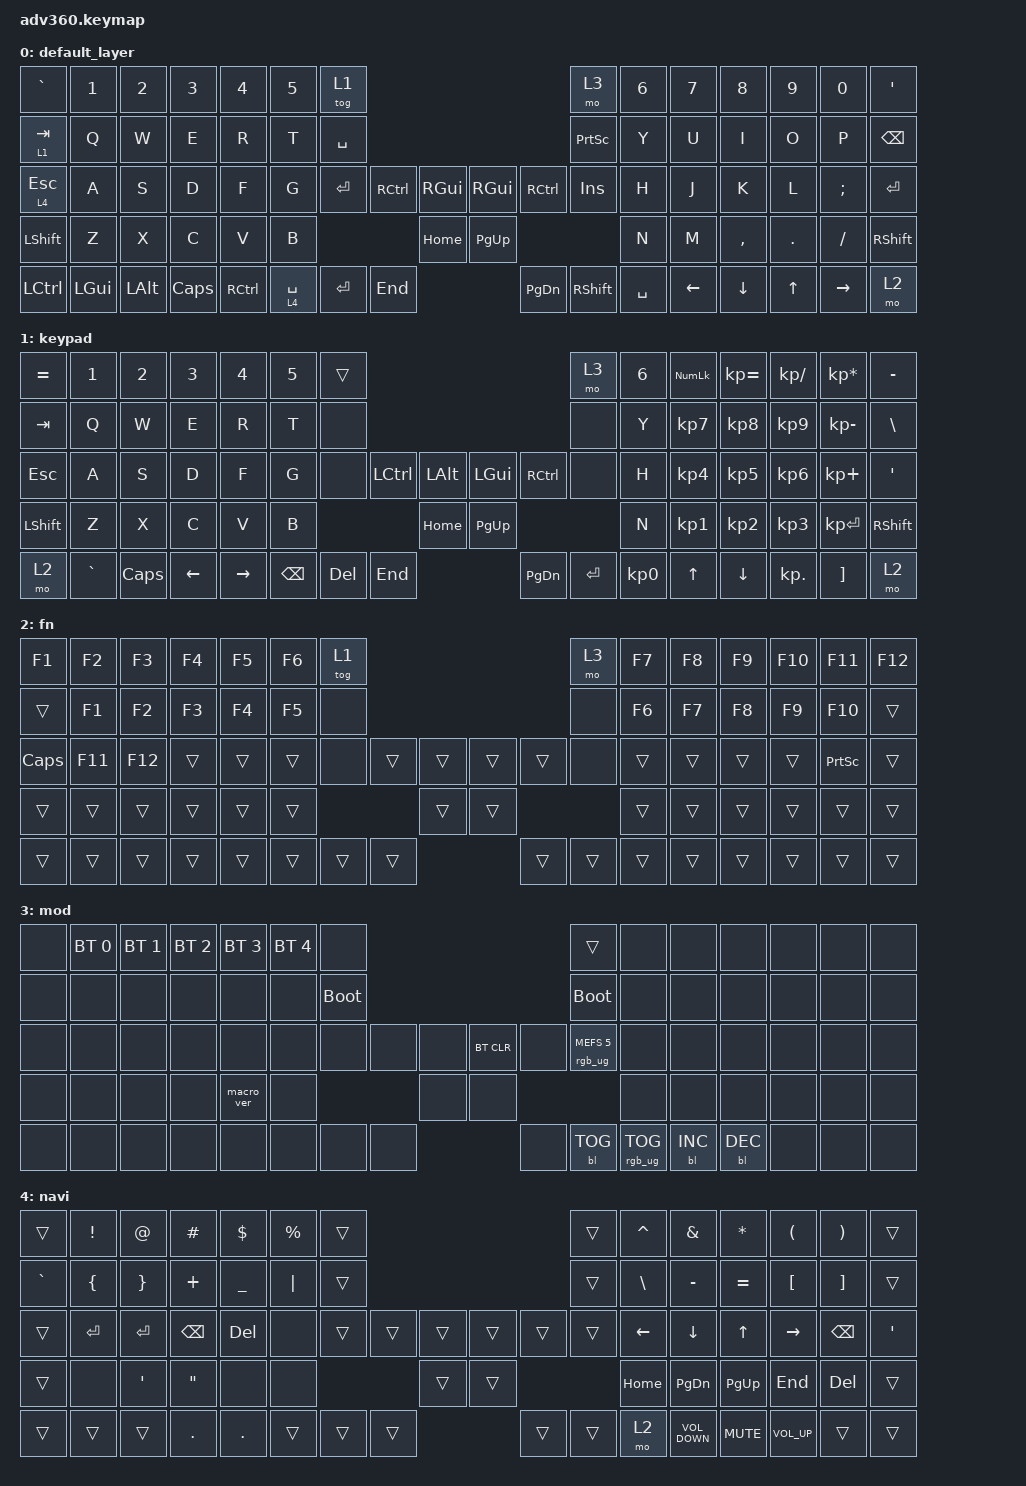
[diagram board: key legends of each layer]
#include <behaviors.dtsi>
#include <dt-bindings/zmk/keys.h>
#include <dt-bindings/zmk/bt.h>
#include <dt-bindings/zmk/rgb.h>
#include <dt-bindings/zmk/backlight.h>

&lt {
    flavor = "hold-preferred";
    tapping-term-ms = <200>;
    quick-tap-ms = <200>;
};

/ {
        behaviors {
            #include "macros.dtsi"
            #include "version.dtsi"
            #ifndef VERSION_MACRO
            macro_ver: macro_ver {
                compatible = "zmk,behavior-macro";
                label = "macro_version";
                #binding-cells = <0>;
                bindings = <&kp RET>;
            };
            #endif

            hm: homerow_mods {
                compatible = "zmk,behavior-hold-tap";
                label = "HOMEROW_MODS";
                #binding-cells = <2>;
                tapping-term-ms = <200>;
                quick_tap_ms = <175>;
                flavor = "tap-preferred";
                bindings = <&kp>, <&kp>;
            };
        };

    keymap {
        compatible = "zmk,keymap";

        default_layer {
            bindings = <
    &kp GRAVE      &kp N1         &kp N2     &kp N3      &kp N4   &kp N5       &tog 1                                                                              &mo 3   &kp N6     &kp N7      &kp N8     &kp N9     &kp N0        &kp SQT
    &lt 1 TAB       &kp Q          &kp W      &kp E       &kp R    &kp T    &kp SPACE                                                                    &kp PRINTSCREEN    &kp Y      &kp U       &kp I      &kp O      &kp P  &kp BACKSPACE
    &lt 4 ESC       &kp A          &kp S      &kp D       &kp F    &kp G    &kp ENTER               &kp RCTRL    &kp RGUI     &kp RGUI   &kp RCTRL            &kp INSERT    &kp H      &kp J       &kp K      &kp L   &kp SEMI      &kp ENTER
    &kp LSHFT       &kp Z          &kp X      &kp C       &kp V    &kp B                                         &kp HOME    &kp PG_UP                                      &kp N      &kp M   &kp COMMA    &kp DOT   &kp FSLH      &kp RSHFT
    &kp LCTRL    &kp LGUI   &kp LEFT_ALT   &kp CAPS   &kp RCTRL                        &lt 4 SPACE  &kp ENTER    &kp END     &kp PG_DN  &kp RSHIFT  &kp SPACE                       &kp LEFT    &kp DOWN     &kp UP  &kp RIGHT          &mo 2
            >;
        };

        keypad {
            bindings = <
    &kp EQUAL &kp N1    &kp N2   &kp N3   &kp N4     &kp N5 &trans                                                           &mo 3 &kp N6 &kp KP_NUM &kp KP_EQUAL &kp KP_DIVIDE &kp KP_MULTIPLY &kp MINUS
    &kp TAB   &kp Q     &kp W    &kp E    &kp R      &kp T  &none                                                            &none &kp Y  &kp KP_N7  &kp KP_N8    &kp KP_N9     &kp KP_MINUS    &kp BSLH
    &kp ESC   &kp A     &kp S    &kp D    &kp F      &kp G  &none           &kp LCTRL &kp LALT &kp LGUI  &kp RCTRL           &none &kp H  &kp KP_N4  &kp KP_N5    &kp KP_N6     &kp KP_PLUS     &kp SQT
    &kp LSHFT &kp Z     &kp X    &kp C    &kp V      &kp B                            &kp HOME &kp PG_UP                           &kp N  &kp KP_N1  &kp KP_N2    &kp KP_N3     &kp KP_ENTER    &kp RSHFT
    &mo 2     &kp GRAVE &kp CAPS &kp LEFT &kp RIGHT                &kp BSPC &kp DEL   &kp END  &kp PG_DN &kp ENTER &kp KP_N0              &kp UP     &kp DOWN     &kp KP_DOT    &kp RBKT        &mo 2
            >;
        };

        fn {
            bindings = <
    &kp F1      &kp F2    &kp F3    &kp F4    &kp F5     &kp F6     &tog 1                                                    &mo 3   &kp F7   &kp F8  &kp F9  &kp F10           &kp F11  &kp F12
    &trans      &kp F1    &kp F2    &kp F3    &kp F4     &kp F5     &none                                                     &none   &kp F6   &kp F7  &kp F8  &kp F9            &kp F10   &trans
    &kp CAPS   &kp F11   &kp F12    &trans    &trans     &trans     &none           &trans  &trans    &trans   &trans         &none   &trans   &trans  &trans   &trans   &kp PRINTSCREEN   &trans
    &trans      &trans    &trans    &trans    &trans     &trans                             &trans    &trans                          &trans   &trans  &trans   &trans            &trans   &trans
    &trans      &trans    &trans    &trans    &trans                        &trans  &trans  &trans    &trans  &trans  &trans                   &trans  &trans   &trans            &trans   &trans
            >;
        };

        mod {
            bindings = <
    &none &bt BT_SEL 0 &bt BT_SEL 1 &bt BT_SEL 2 &bt BT_SEL 3 &bt BT_SEL 4 &none                                                                     &trans                 &none        &none        &none        &none &none &none
    &none &none        &none        &none        &none        &none        &bootloader                                                               &bootloader            &none        &none        &none        &none &none &none
    &none &none        &none        &none        &none        &none        &none                   &none &none &bt BT_CLR &none                      &rgb_ug RGB_MEFS_CMD 5 &none        &none        &none        &none &none &none
    &none &none        &none        &none        &macro_ver   &none                                      &none &none                                                        &none        &none        &none        &none &none &none
    &none &none        &none        &none        &none                                       &none &none &none &none      &bl BL_TOG &rgb_ug RGB_TOG                                     &bl BL_INC   &bl BL_DEC   &none &none &none
            >;
        };

        navi {
            bindings = <
    &trans   &kp EXCL      &kp AT       &kp HASH    &kp DOLLAR      &kp PERCENT      &trans                                                  &trans      &kp CARET            &kp AMPS      &kp ASTRK           &kp LPAR        &kp RPAR       &trans
 &kp GRAVE   &kp LBRC    &kp RBRC       &kp PLUS     &kp UNDER         &kp PIPE      &trans                                                  &trans  &kp BACKSLASH           &kp MINUS      &kp EQUAL           &kp LBKT        &kp RBKT       &trans
    &trans  &kp ENTER   &kp ENTER  &kp BACKSPACE    &kp DELETE            &none      &trans          &trans  &trans  &trans  &trans          &trans       &kp LEFT            &kp DOWN         &kp UP          &kp RIGHT   &kp BACKSPACE      &kp SQT
    &trans      &none     &kp SQT        &kp DQT         &none            &none                              &trans  &trans                               &kp HOME           &kp PG_DN      &kp PG_UP            &kp END      &kp DELETE       &trans
    &trans     &trans      &trans        &kp DOT       &kp DOT                               &trans  &trans  &trans  &trans  &trans  &mo 2                           &kp C_VOLUME_DOWN     &kp C_MUTE    &kp C_VOLUME_UP          &trans       &trans
            >;
        };

    };
};
